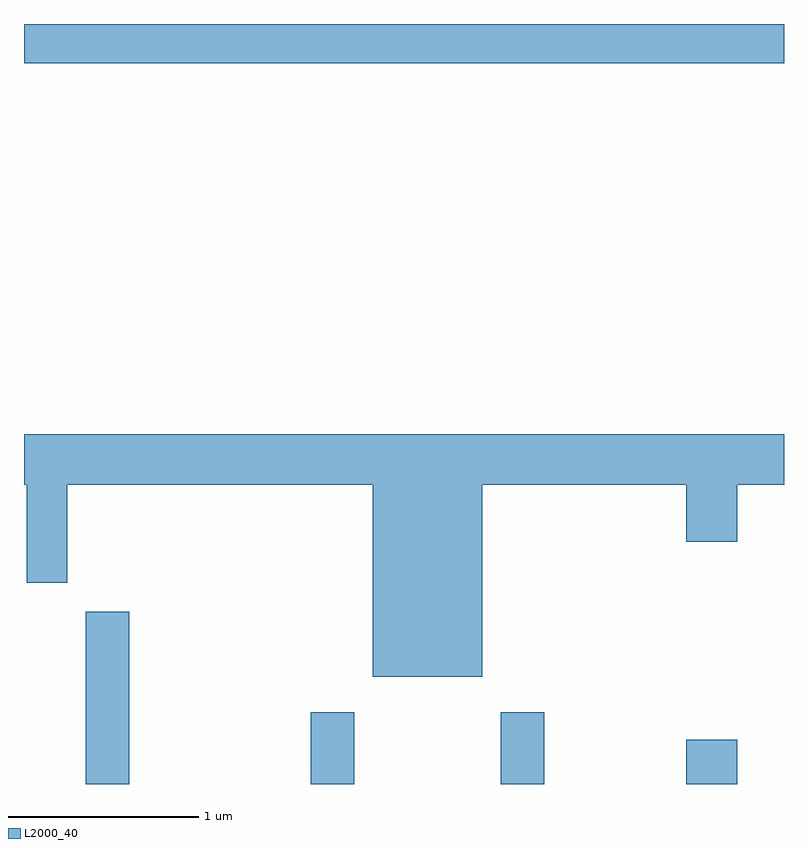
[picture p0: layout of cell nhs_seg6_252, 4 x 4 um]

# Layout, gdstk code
import gdstk
lib = gdstk.Library(unit=1e-6, precision=1e-09)
def R(c, l, rs):  # rectangles x0, y0, x1, y1
    for r in rs: c.add(gdstk.rectangle(r[:2], r[2:], *l))
def P(c, l, *ps):  # polygons
    for p in ps: c.add(gdstk.Polygon(p, *l))
L2000_40 = (2000, 40)

nhs_seg6_252 = lib.new_cell('nhs_seg6_252')
R(nhs_seg6_252, L2000_40, [(191.936,1626.162,192.164,1627.069), (193.121,1626.162,193.349,1626.539), (194.121,1626.162,194.349,1626.539), (195.096,1626.162,195.364,1626.394), (191.611,1629.956,195.611,1630.162)])
P(nhs_seg6_252, L2000_40, [(194.024,1627.736),(195.096,1627.736),(195.096,1627.436),(195.364,1627.436),(195.364,1627.736),(195.611,1627.736),(195.611,1628.004),(191.611,1628.004),(191.611,1627.736),(191.626,1627.736),(191.626,1627.221),(191.839,1627.221),(191.839,1627.736),(193.446,1627.736),(193.446,1626.726),(194.024,1626.726)])

lib.write_gds('nhs_seg6_252.gds')
